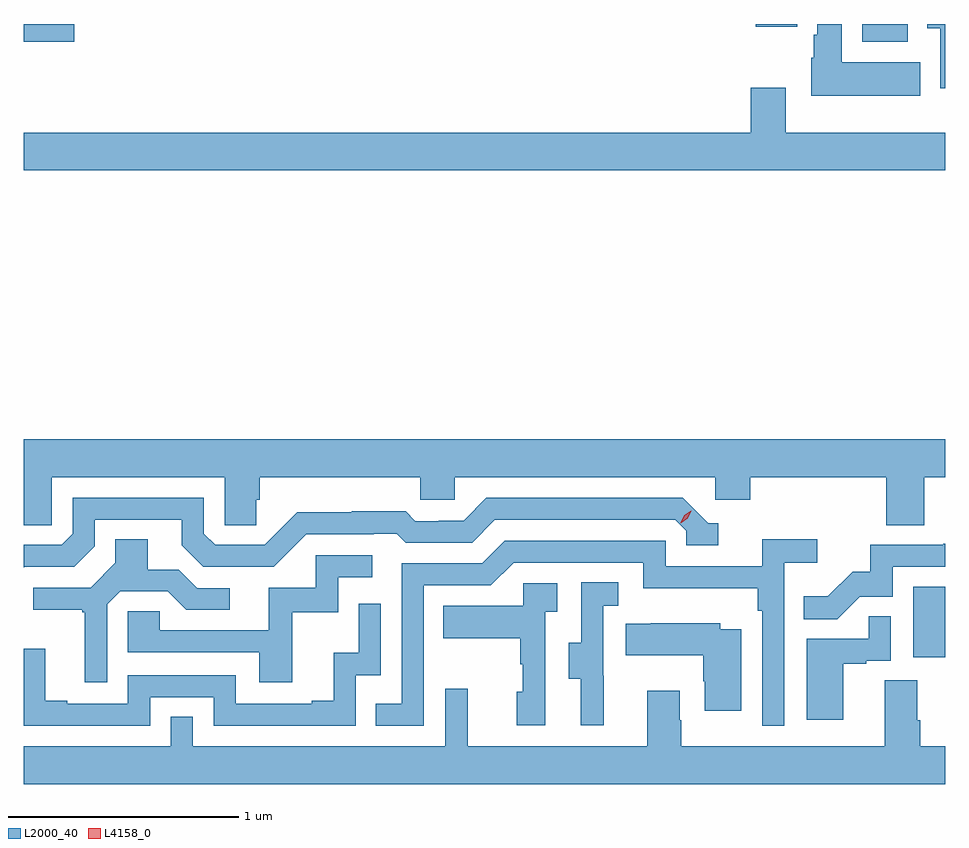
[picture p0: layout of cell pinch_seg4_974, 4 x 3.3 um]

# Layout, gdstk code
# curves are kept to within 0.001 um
import gdstk
lib = gdstk.Library(unit=1e-6, precision=1e-09)
def R(c, l, rs):  # rectangles x0, y0, x1, y1
    for r in rs: c.add(gdstk.rectangle(r[:2], r[2:], *l))
def P(c, l, *ps):  # polygons
    for p in ps: c.add(gdstk.Polygon(p, *l))
L2000_40 = (2000, 40)
L4158_0 = (4158, 0)

pinch_seg4_974 = lib.new_cell('pinch_seg4_974')
R(pinch_seg4_974, L2000_40, [(841.574,782.718,841.712,783.025), (837.712,785.39,837.931,785.468), (841.353,785.39,841.549,785.468), (840.89,785.456,841.069,785.468)])
P(pinch_seg4_974, L2000_40, [(841.712,785.468),(841.634,785.468),(841.634,785.449),(841.691,785.449),(841.691,785.19),(841.712,785.19)],
  [(841.603,785.302),(841.264,785.302),(841.264,785.468),(841.157,785.468),(841.157,785.422),(841.142,785.422),(841.142,785.322),(841.13,785.322),(841.13,785.156),(841.603,785.156)],
  [(841.712,784.996),(841.021,784.996),(841.021,785.191),(840.869,785.191),(840.869,784.996),(837.712,784.996),(837.712,784.832),(841.712,784.832)],
  [(837.712,783.292),(837.834,783.292),(837.834,783.5),(838.584,783.5),(838.584,783.292),(838.721,783.292),(838.721,783.402),(838.736,783.402),(838.736,783.5),(839.433,783.5),(839.433,783.402),(839.583,783.402),(839.583,783.5),(840.714,783.5),(840.714,783.402),(840.866,783.402),(840.866,783.5),(841.457,783.5),(841.457,783.292),(841.622,783.292),(841.622,783.5),(841.712,783.5),(841.712,783.664),(837.712,783.664)],
  [(837.714,783.111),(837.93,783.111),(838.02,783.201),(838.02,783.315),(838.397,783.315),(838.397,783.205),(838.491,783.111),(838.797,783.111),(838.938,783.252),(839.231,783.252),(839.231,783.255),(839.33,783.255),(839.369,783.216),(839.658,783.216),(839.757,783.315),(840.54,783.315),(840.588,783.267),(840.588,783.204),(840.727,783.204),(840.727,783.3),(840.684,783.3),(840.573,783.411),(839.72,783.411),(839.621,783.312),(839.514,783.312),(839.514,783.309),(839.411,783.309),(839.369,783.352),(839.136,783.352),(839.136,783.349),(838.9,783.349),(838.758,783.207),(838.542,783.207),(838.494,783.255),(838.494,783.411),(837.924,783.411),(837.924,783.255),(837.876,783.207),(837.712,783.207),(837.712,783.11)],
  [(838.074,782.949),(838.131,783.006),(838.337,783.006),(838.418,782.925),(838.606,782.925),(838.606,783.018),(838.464,783.018),(838.384,783.098),(838.249,783.098),(838.249,783.23),(838.109,783.23),(838.109,783.128),(838.002,783.021),(837.753,783.021),(837.753,782.924),(837.966,782.924),(837.966,782.913),(837.977,782.913),(837.977,782.61),(838.074,782.61)],
  [(839.448,783.03),(839.739,783.03),(839.838,783.129),(840.402,783.129),(840.402,783.017),(840.898,783.017),(840.898,782.921),(840.918,782.921),(840.918,782.421),(841.014,782.421),(841.014,783.128),(841.156,783.128),(841.156,783.23),(840.917,783.23),(840.917,783.114),(840.498,783.114),(840.498,783.225),(839.801,783.225),(839.702,783.126),(839.352,783.126),(839.352,782.517),(839.239,782.517),(839.239,782.421),(839.448,782.421)],
  [(841.341,782.982),(841.485,782.982),(841.485,783.111),(841.712,783.111),(841.712,783.212),(841.705,783.212),(841.705,783.207),(841.387,783.207),(841.387,783.09),(841.31,783.09),(841.203,782.983),(841.099,782.983),(841.099,782.884),(841.243,782.884)],
  [(838.877,782.913),(839.076,782.913),(839.076,783.066),(839.224,783.066),(839.224,783.162),(838.98,783.162),(838.98,783.021),(838.775,783.021),(838.775,782.835),(838.301,782.835),(838.301,782.919),(838.164,782.919),(838.164,782.739),(838.733,782.739),(838.733,782.61),(838.877,782.61)],
  [(840.23,782.637),(840.228,782.637),(840.228,782.941),(840.292,782.941),(840.292,783.044),(840.132,783.044),(840.132,782.781),(840.077,782.781),(840.077,782.626),(840.131,782.626),(840.131,782.424),(840.23,782.424)],
  [(839.976,782.915),(840.028,782.915),(840.028,783.039),(839.88,783.039),(839.88,782.941),(839.533,782.941),(839.533,782.801),(839.868,782.801),(839.868,782.687),(839.878,782.687),(839.878,782.568),(839.852,782.568),(839.852,782.424),(839.976,782.424)],
  [(838.26,782.544),(838.536,782.544),(838.536,782.421),(839.154,782.421),(839.154,782.64),(839.262,782.64),(839.262,782.95),(839.166,782.95),(839.166,782.738),(839.057,782.738),(839.057,782.53),(838.961,782.53),(838.961,782.517),(838.632,782.517),(838.632,782.64),(838.164,782.64),(838.164,782.517),(837.901,782.517),(837.901,782.53),(837.805,782.53),(837.805,782.755),(837.712,782.755),(837.712,782.421),(838.26,782.421)],
  [(841.27,782.691),(841.37,782.691),(841.37,782.703),(841.476,782.703),(841.476,782.897),(841.381,782.897),(841.381,782.799),(841.112,782.799),(841.112,782.448),(841.27,782.448)],
  [(840.826,782.839),(840.735,782.839),(840.735,782.866),(840.433,782.866),(840.433,782.863),(840.325,782.863),(840.325,782.726),(840.661,782.726),(840.661,782.615),(840.668,782.615),(840.668,782.487),(840.826,782.487)],
  [(841.712,782.332),(841.604,782.332),(841.604,782.444),(841.591,782.444),(841.591,782.618),(841.451,782.618),(841.451,782.332),(840.567,782.332),(840.567,782.444),(840.559,782.444),(840.559,782.572),(840.419,782.572),(840.419,782.332),(839.639,782.332),(839.639,782.581),(839.541,782.581),(839.541,782.332),(838.446,782.332),(838.446,782.459),(838.35,782.459),(838.35,782.332),(837.712,782.332),(837.712,782.168),(841.712,782.168)])
P(pinch_seg4_974, L4158_0, [(840.564,783.301),(840.564,783.302),(840.58,783.334),(840.61,783.354),(840.61,783.354),(840.61,783.354),(840.594,783.321),(840.564,783.301)])

lib.write_gds('pinch_seg4_974.gds')
